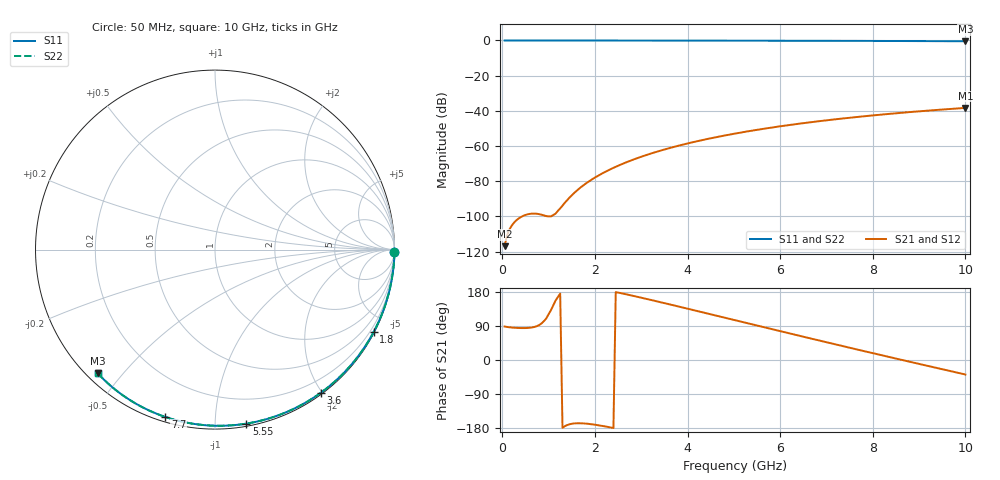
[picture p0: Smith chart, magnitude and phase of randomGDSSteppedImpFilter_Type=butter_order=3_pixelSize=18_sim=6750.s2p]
! freq	dB(S11)	phase(S11)	dB(S12)	phase(S12)
!  dB(S21)	phase(S21)	dB(S22)	phase(S22)
!S-par simulation data
#  GHz  S  DB  R 50
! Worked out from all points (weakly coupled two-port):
!   200 points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, 50 MHz to 10 GHz, reference 50 ohm
!   highest |S21| = -38.32 dB at 10 GHz (marker M1); lowest = -116.9 dB at 50 MHz (marker M2)
!   lowest |S11| = -0.4 dB at 10 GHz (marker M3), VSWR 38.89, Z = 1.52 - j21.5 ohm
!   |S11| at or under -10 dB: nowhere
!   |S22| runs from -0.4 to 0.0 dB; largest |S21 - S12| = 0
!   S11 on the Smith chart (normalised r, x): 50 MHz: open; 1.8 GHz: 0.04, -4.11; 3.6 GHz: 0.02, -1.99; 5.55 GHz: 0.02, -1.20; 7.7 GHz: 0.02, -0.75; 10 GHz: 0.03, -0.43
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0.05  -0.00 -0.8  -116.90 88.5  -116.90 88.5  -0.00 -0.8
0.9  -0.02 -13.8  -99.45 102.8  -99.45 102.8  -0.02 -13.8
1.75  -0.03 -26.6  -82.34 -167.3  -82.34 -167.3  -0.03 -26.6
1.8  -0.03 -27.3  -81.37 -167.8  -81.37 -167.8  -0.03 -27.3
1.85  -0.04 -28.1  -80.46 -168.4  -80.46 -168.4  -0.04 -28.1
1.9  -0.04 -28.8  -79.58 -169.0  -79.58 -169.0  -0.04 -28.8
2.05  -0.04 -31.0  -77.14 -171.7  -77.14 -171.7  -0.04 -31.0
2.25  -0.04 -34.0  -74.29 -175.9  -74.29 -175.9  -0.04 -34.0
2.45  -0.05 -36.9  -71.77 179.2  -71.77 179.2  -0.05 -36.9
2.65  -0.05 -39.8  -69.53 174.0  -69.53 174.0  -0.05 -39.8
3  -0.06 -44.9  -66.09 164.5  -66.09 164.5  -0.06 -44.9
3.4  -0.07 -50.6  -62.73 153.0  -62.73 153.0  -0.07 -50.6
3.6  -0.07 -53.4  -61.23 147.2  -61.23 147.2  -0.07 -53.4
4.3  -0.09 -63.1  -56.72 126.6  -56.72 126.6  -0.09 -63.1
5.05  -0.11 -73.2  -52.80 104.3  -52.80 104.3  -0.11 -73.2
5.55  -0.13 -79.8  -50.57 89.5  -50.57 89.5  -0.13 -79.8
6.1  -0.15 -86.8  -48.41 73.2  -48.41 73.2  -0.15 -86.8
6.7  -0.18 -94.4  -46.33 55.6  -46.33 55.6  -0.18 -94.4
7.7  -0.24 -106.5  -43.37 26.6  -43.37 26.6  -0.24 -106.5
8.35  -0.29 -114.3  -41.73 8.0  -41.73 8.0  -0.29 -114.3
9.15  -0.36 -123.6  -39.95 -14.5  -39.95 -14.5  -0.36 -123.6
10  -0.45 -133.4  -38.32 -38.3  -38.32 -38.3  -0.45 -133.4
